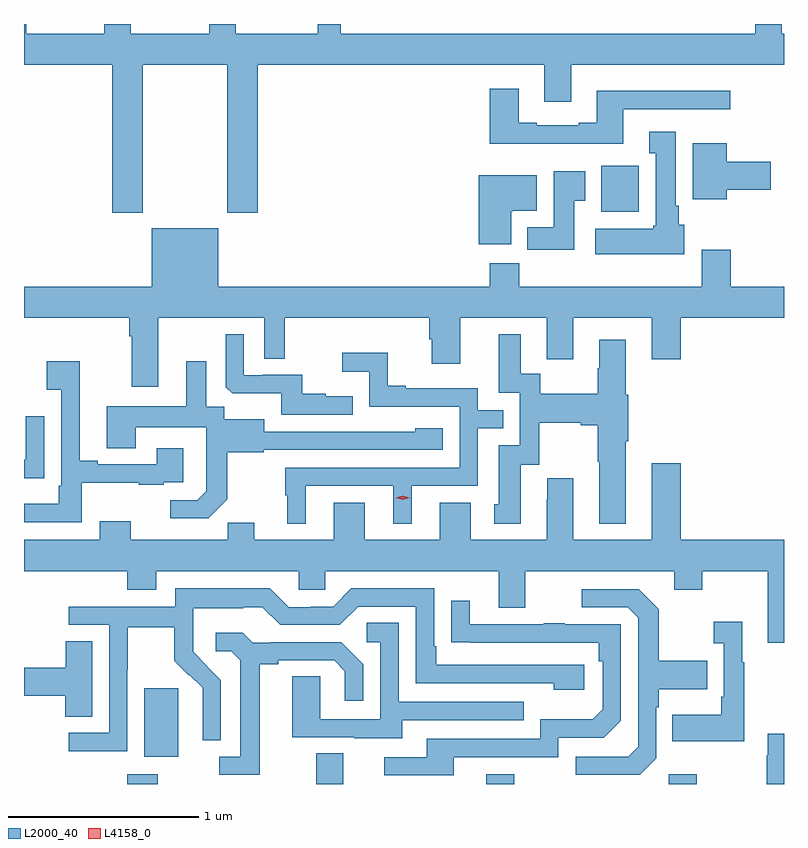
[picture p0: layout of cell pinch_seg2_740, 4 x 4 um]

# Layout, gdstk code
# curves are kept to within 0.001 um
import gdstk
lib = gdstk.Library(unit=1e-6, precision=1e-09)
def R(c, l, rs):  # rectangles x0, y0, x1, y1
    for r in rs: c.add(gdstk.rectangle(r[:2], r[2:], *l))
def P(c, l, *ps):  # polygons
    for p in ps: c.add(gdstk.Polygon(p, *l))
L2000_40 = (2000, 40)
L4158_0 = (4158, 0)

pinch_seg2_740 = lib.new_cell('pinch_seg2_740')
R(pinch_seg2_740, L2000_40, [(825.239,654.507,825.399,654.559), (826.235,654.507,826.375,654.668), (827.129,654.507,827.277,654.559), (828.09,654.507,828.237,654.559), (825.329,654.65,825.508,655.011), (827.735,657.518,827.932,657.76)])
P(pinch_seg2_740, L2000_40, [(825.321,658.292),(825.766,658.292),(825.766,657.513),(825.926,657.513),(825.926,658.292),(827.435,658.292),(827.435,658.098),(827.575,658.098),(827.575,658.292),(828.696,658.292),(828.696,658.456),(828.685,658.456),(828.685,658.507),(828.545,658.507),(828.545,658.456),(826.363,658.456),(826.363,658.507),(826.241,658.507),(826.241,658.456),(825.811,658.456),(825.811,658.507),(825.671,658.507),(825.671,658.456),(825.259,658.456),(825.259,658.507),(825.119,658.507),(825.119,658.456),(824.707,658.456),(824.707,658.507),(824.696,658.507),(824.696,658.292),(825.161,658.292),(825.161,657.513),(825.321,657.513)],
  [(827.851,658.059),(828.412,658.059),(828.412,658.156),(827.711,658.156),(827.711,657.988),(827.615,657.988),(827.615,657.975),(827.395,657.975),(827.395,657.988),(827.299,657.988),(827.299,658.165),(827.147,658.165),(827.147,657.878),(827.851,657.878)],
  [(828.172,657.45),(828.142,657.45),(828.142,657.55),(828.127,657.55),(828.127,657.94),(827.987,657.94),(827.987,657.827),(828.02,657.827),(828.02,657.444),(828.007,657.444),(828.007,657.43),(827.703,657.43),(827.703,657.296),(828.172,657.296)],
  [(828.394,657.635),(828.625,657.635),(828.625,657.782),(828.394,657.782),(828.394,657.88),(828.215,657.88),(828.215,657.584),(828.394,657.584)],
  [(827.593,657.577),(827.65,657.577),(827.65,657.733),(827.483,657.733),(827.483,657.436),(827.345,657.436),(827.345,657.318),(827.593,657.318)],
  [(827.26,657.518),(827.266,657.518),(827.266,657.524),(827.395,657.524),(827.395,657.712),(827.09,657.712),(827.09,657.348),(827.26,657.348)],
  [(825.403,656.96),(825.96,656.96),(825.96,656.746),(826.069,656.746),(826.069,656.96),(826.829,656.96),(826.829,656.847),(826.841,656.847),(826.841,656.718),(826.993,656.718),(826.993,656.96),(827.447,656.96),(827.447,656.742),(827.587,656.742),(827.587,656.96),(827.999,656.96),(827.999,656.742),(828.152,656.742),(828.152,656.96),(828.696,656.96),(828.696,657.124),(828.416,657.124),(828.416,657.319),(828.263,657.319),(828.263,657.124),(827.303,657.124),(827.303,657.248),(827.147,657.248),(827.147,657.124),(825.718,657.124),(825.718,657.433),(825.368,657.433),(825.368,657.124),(824.696,657.124),(824.696,656.96),(825.251,656.96),(825.251,656.864),(825.263,656.864),(825.263,656.598),(825.403,656.598)],
  [(826.427,656.548),(826.283,656.548),(826.283,656.56),(826.16,656.56),(826.16,656.661),(825.952,656.661),(825.952,656.658),(825.852,656.658),(825.852,656.875),(825.759,656.875),(825.759,656.595),(825.791,656.564),(826.05,656.564),(826.05,656.451),(826.427,656.451)],
  [(827.863,656.312),(827.876,656.312),(827.876,656.556),(827.863,656.556),(827.863,656.845),(827.723,656.845),(827.723,656.694),(827.716,656.694),(827.716,656.56),(827.413,656.56),(827.413,656.666),(827.311,656.666),(827.311,656.875),(827.195,656.875),(827.195,656.565),(827.304,656.565),(827.304,656.289),(827.195,656.289),(827.195,655.98),(827.171,655.98),(827.171,655.878),(827.311,655.878),(827.311,656.186),(827.409,656.186),(827.409,656.408),(827.627,656.408),(827.627,656.396),(827.716,656.396),(827.716,656.203),(827.723,656.203),(827.723,655.877),(827.863,655.877)],
  [(826.18,656.076),(826.64,656.076),(826.64,655.877),(826.738,655.877),(826.738,656.076),(827.085,656.076),(827.085,656.379),(827.219,656.379),(827.219,656.475),(827.085,656.475),(827.085,656.589),(826.705,656.589),(826.705,656.602),(826.611,656.602),(826.611,656.777),(826.371,656.777),(826.371,656.678),(826.512,656.678),(826.512,656.493),(826.989,656.493),(826.989,656.172),(826.071,656.172),(826.071,656.028),(826.082,656.028),(826.082,655.877),(826.18,655.877)],
  [(825.765,656.007),(825.765,656.253),(825.957,656.253),(825.957,656.265),(826.9,656.265),(826.9,656.38),(826.755,656.38),(826.755,656.362),(825.961,656.361),(825.961,656.428),(825.75,656.428),(825.75,656.492),(825.655,656.492),(825.655,656.731),(825.551,656.731),(825.551,656.494),(825.131,656.494),(825.131,656.275),(825.283,656.275),(825.283,656.384),(825.654,656.384),(825.654,656.143),(825.656,656.143),(825.656,656.048),(825.609,656.001),(825.465,656.001),(825.465,655.907),(825.665,655.907)],
  [(825.001,656.093),(825.299,656.093),(825.299,656.082),(825.431,656.082),(825.431,656.094),(825.535,656.094),(825.535,656.275),(825.395,656.275),(825.395,656.19),(825.085,656.19),(825.085,656.209),(824.989,656.209),(824.989,656.731),(824.817,656.731),(824.817,656.582),(824.892,656.582),(824.892,656.077),(824.88,656.077),(824.88,655.981),(824.696,655.981),(824.696,655.884),(825.001,655.884)],
  [(824.802,656.443),(824.706,656.443),(824.706,656.214),(824.696,656.214),(824.696,656.117),(824.802,656.117)],
  [(828.696,655.792),(828.152,655.792),(828.152,656.194),(827.999,656.194),(827.999,655.792),(827.587,655.792),(827.587,656.116),(827.45,656.116),(827.45,656.003),(827.447,656.003),(827.447,655.792),(827.047,655.792),(827.047,655.987),(826.883,655.987),(826.883,655.792),(826.489,655.792),(826.489,655.987),(826.325,655.987),(826.325,655.792),(825.907,655.792),(825.907,655.883),(825.769,655.883),(825.769,655.792),(825.259,655.792),(825.259,655.891),(825.095,655.891),(825.095,655.792),(824.696,655.792),(824.696,655.628),(825.239,655.628),(825.239,655.529),(825.391,655.529),(825.391,655.628),(826.143,655.628),(826.143,655.53),(826.281,655.53),(826.281,655.628),(827.195,655.628),(827.195,655.434),(827.335,655.434),(827.335,655.628),(828.119,655.628),(828.119,655.529),(828.267,655.529),(828.267,655.628),(828.611,655.628),(828.611,655.251),(828.696,655.251)],
  [(825.24,655.108),(825.243,655.108),(825.243,655.332),(825.487,655.332),(825.487,655.157),(825.564,655.08),(825.567,655.083),(825.638,655.013),(825.638,654.89),(825.636,654.89),(825.636,654.736),(825.732,654.736),(825.732,655.054),(825.586,655.202),(825.586,655.299),(825.588,655.299),(825.588,655.433),(825.851,655.433),(825.851,655.437),(825.951,655.437),(826.044,655.344),(826.359,655.344),(826.455,655.44),(826.758,655.44),(826.758,655.038),(827.483,655.038),(827.483,655.004),(827.644,655.004),(827.644,655.134),(826.867,655.134),(826.867,655.231),(826.854,655.231),(826.854,655.536),(826.419,655.536),(826.323,655.44),(826.205,655.44),(826.205,655.437),(826.089,655.437),(825.989,655.537),(825.492,655.537),(825.492,655.44),(824.931,655.44),(824.931,655.344),(825.144,655.344),(825.144,654.777),(824.931,654.777),(824.931,654.679),(825.24,654.679)],
  [(828.024,654.642),(828.024,654.911),(828.037,654.911),(828.037,655.007),(828.293,655.007),(828.293,655.155),(828.037,655.155),(828.037,655.427),(827.931,655.533),(827.631,655.533),(827.631,655.437),(827.874,655.437),(827.928,655.383),(827.928,654.702),(827.877,654.651),(827.601,654.651),(827.601,654.555),(827.937,654.555)],
  [(826.957,654.648),(827.508,654.648),(827.508,654.75),(827.748,654.75),(827.838,654.84),(827.838,655.347),(827.543,655.347),(827.543,655.352),(827.431,655.352),(827.431,655.347),(827.041,655.347),(827.041,655.471),(826.945,655.471),(826.945,655.252),(827.722,655.251),(827.722,655.154),(827.742,655.154),(827.742,654.9),(827.689,654.847),(827.412,654.847),(827.412,654.744),(826.817,654.744),(826.817,654.648),(826.593,654.648),(826.593,654.552),(826.957,654.552)],
  [(828.487,655.147),(828.475,655.147),(828.475,655.36),(828.327,655.36),(828.327,655.247),(828.378,655.247),(828.378,654.967),(828.366,654.967),(828.366,654.871),(828.109,654.871),(828.109,654.731),(828.487,654.731)],
  [(826.687,654.843),(827.327,654.843),(827.327,654.939),(826.668,654.939),(826.668,655.355),(826.5,655.355),(826.5,655.254),(826.572,655.254),(826.572,654.849),(826.254,654.849),(826.254,655.073),(826.109,655.073),(826.109,654.753),(826.433,654.753),(826.433,654.749),(826.687,654.749)],
  [(825.937,655.136),(826.033,655.136),(826.033,655.158),(826.328,655.158),(826.385,655.101),(826.385,654.945),(826.482,654.945),(826.482,655.138),(826.366,655.254),(825.994,655.254),(825.994,655.251),(825.9,655.251),(825.848,655.303),(825.705,655.303),(825.705,655.206),(825.786,655.206),(825.833,655.159),(825.833,654.651),(825.723,654.651),(825.723,654.555),(825.937,654.555)],
  [(825.055,655.259),(824.917,655.259),(824.917,655.118),(824.696,655.118),(824.696,654.971),(824.912,654.971),(824.912,654.862),(825.055,654.862)],
  [(828.696,654.772),(828.611,654.772),(828.611,654.659),(828.604,654.659),(828.604,654.507),(828.696,654.507)])
P(pinch_seg2_740, L4158_0, [(826.689,656.003),(826.653,656.013),(826.653,656.013),(826.653,656.013),(826.689,656.023),(826.725,656.013),(826.725,656.013),(826.725,656.013)])

lib.write_gds('pinch_seg2_740.gds')
